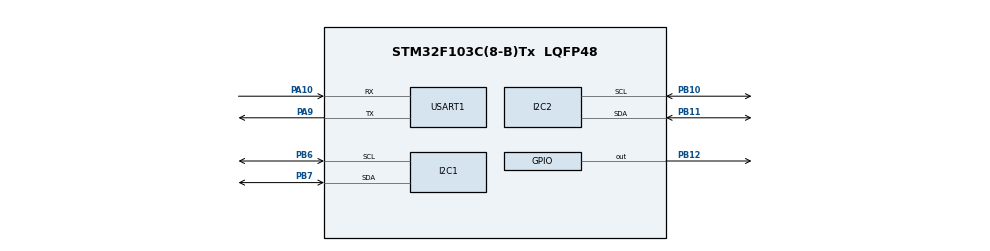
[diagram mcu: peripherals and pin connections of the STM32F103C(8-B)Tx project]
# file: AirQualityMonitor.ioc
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Mcu.Family=STM32F1
Mcu.Name=STM32F103C(8-B)Tx
Mcu.Package=LQFP48
NVIC.PriorityGroup=NVIC_PRIORITYGROUP_4
PA10.Mode=Asynchronous
PA10.Signal=USART1_RX
PA13.Mode=Serial_Wire
PA13.Signal=SYS_JTMS-SWDIO
PA14.Mode=Serial_Wire
PA14.Signal=SYS_JTCK-SWCLK
PA9.Mode=Asynchronous
PA9.Signal=USART1_TX
PB10.Mode=I2C
PB10.Signal=I2C2_SCL
PB11.Mode=I2C
PB11.Signal=I2C2_SDA
PB12.Signal=GPIO_Output
PB6.Mode=I2C
PB6.Signal=I2C1_SCL
PB7.Mode=I2C
PB7.Signal=I2C1_SDA
ProjectManager.HeapSize=0x200
ProjectManager.StackSize=0x400
ProjectManager.TargetToolchain=Makefile
RCC.APB1Freq_Value=8000000
RCC.APB2Freq_Value=8000000
USART1.Parity=PARITY_NONE
USART1.VirtualMode=VM_ASYNC
board=custom

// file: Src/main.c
/* USER CODE BEGIN Header */
/**
  ******************************************************************************
  * @file           : main.c
  * @brief          : Main program body
  ******************************************************************************
  * @attention
  *
  * <h2><center>&copy; Copyright (c) 2019 STMicroelectronics.
  * All rights reserved.</center></h2>
  *
  * This software component is licensed by ST under BSD 3-Clause license,
  * the "License"; You may not use this file except in compliance with the
  * License. You may obtain a copy of the License at:
  *                        opensource.org/licenses/BSD-3-Clause
  *
  ******************************************************************************
  */
/* USER CODE END Header */

#include "main.h"
#include "i2c.h"
#include "usart.h"
#include "gpio.h"

/* USER CODE BEGIN Includes */
#include "bme280.h"
#include "bme280_defs.h"
#include "CCS811.h"
#include "CCS811_defs.h"
/* USER CODE END Includes */

/* USER CODE BEGIN PV */
uint8_t BME280_TestBuffer[10] = {0};
uint8_t CCS811_TestBuffer[10] = {0};

/* USER CODE END PV */

void SystemClock_Config(void);
/* USER CODE BEGIN PFP */
int8_t user_bme280_read(uint8_t id, uint8_t reg_addr, uint8_t *data, uint16_t len);
int8_t user_ccs811_read(uint8_t id, uint8_t reg_addr, uint8_t *data, uint16_t len);

int8_t user_bme280_write(uint8_t id, uint8_t reg_addr, uint8_t *data, uint16_t len);
int8_t user_ccs811_write(uint8_t id, uint8_t reg_addr, uint8_t *data, uint16_t len);

int8_t BME280_get_data(struct bme280_dev *dev, struct bme280_data *data);
void prepare_uart_packet(struct ccs811_data *ccs811_samples, struct bme280_data *bme280_samples, uint8_t dataElements, uint8_t *packet);
void user_delay_ms(uint32_t period);
void uint32_To_Buffer(uint32_t data, uint8_t *buffer, uint8_t index);

/* USER CODE END PFP */

int main(void)
{
  /* USER CODE BEGIN 1 */
  uint8_t I2C_REG = 0xD0;

  int bme_data[10] = {0};
  /* USER CODE END 1 */

  /* MCU Configuration--------------------------------------------------------*/

  /* Reset of all peripherals, Initializes the Flash interface and the Systick. */
  HAL_Init();

  /* Configure the system clock */
  SystemClock_Config();

  /* Initialize all configured peripherals */
  MX_GPIO_Init();
  MX_I2C1_Init();
  MX_USART1_UART_Init();
  MX_I2C2_Init();
  /* USER CODE BEGIN 2 */
  uint8_t bmePacket[PAKCET_SIZE_BYTES] = {0};

  struct bme280_dev bme280;
  struct bme280_data bme280Samples;

  volatile int8_t rslt = BME280_OK;

  bme280.dev_id = BME280_I2C_ADDR_PRIM;
  bme280.intf = BME280_I2C_INTF;
  bme280.write = user_bme280_write;
  bme280.read = user_bme280_read;
  bme280.delay_ms = user_delay_ms;

  rslt = bme280_init(&bme280);
  if (rslt != BME280_OK)
  {
    HAL_GPIO_WritePin(GPIOB, GPIO_PIN_12, 0);
    while (1)
    {

      /* code */
    }
  }

  rslt = CCS811_OK;
  struct ccs811_dev ccs811;
  struct ccs811_data ccs811Samples;
  ccs811.dev_id = CCS811_ADDR;
  ccs811.read = user_ccs811_read;
  ccs811.write = user_ccs811_write;
  ccs811.delay_ms = user_delay_ms;
  ccs811.settings.mode = CSS811_MODE1;

  rslt = ccs811_init(&ccs811);

  if (rslt != CCS811_OK)
  {
    HAL_GPIO_WritePin(GPIOB, GPIO_PIN_12, 0);
    while (1)
    {

      /* code */
    }
  }

  uint32_t start, end, diff = 0;
  float ms = 0.0f;

  /* USER CODE END 2 */

  /* Infinite loop */
  /* USER CODE BEGIN WHILE */

  HAL_Delay(100);
  while (1)
  {
    /* USER CODE END WHILE */

    /* USER CODE BEGIN 3 */
    start = SysTick->VAL;

    // HAL_GPIO_WritePin(GPIOB, GPIO_PIN_12, 1);
    BME280_get_data(&bme280, &bme280Samples);
    ccs811_get_data(&ccs811, &ccs811Samples);

    //Todo yra problema su i2c??? kazkodel nedraugauja vienas su kitu, quick fix butu perkeist kanala i2c jei noresim naudoti LCD monitoriuka
    prepare_uart_packet(&ccs811Samples, &bme280Samples, PACKET_ELEMENTS_UINT32, &bmePacket);

    HAL_UART_Transmit(&huart1, bmePacket, sizeof(bmePacket), 100);

    HAL_Delay(1000);

    end = SysTick->VAL;
    diff = end - start;
    ms = (float)((diff / (SystemCoreClock * 1.0f)) * 1000);
  }
  /* USER CODE END 3 */
}

void SystemClock_Config(void)
{
  RCC_OscInitTypeDef RCC_OscInitStruct = {0};
  RCC_ClkInitTypeDef RCC_ClkInitStruct = {0};

  /** Initializes the CPU, AHB and APB busses clocks
  */
  RCC_OscInitStruct.OscillatorType = RCC_OSCILLATORTYPE_HSI;
  RCC_OscInitStruct.HSIState = RCC_HSI_ON;
  RCC_OscInitStruct.HSICalibrationValue = RCC_HSICALIBRATION_DEFAULT;
  RCC_OscInitStruct.PLL.PLLState = RCC_PLL_NONE;
  if (HAL_RCC_OscConfig(&RCC_OscInitStruct) != HAL_OK)
  {
    Error_Handler();
  }
  /** Initializes the CPU, AHB and APB busses clocks
  */
  RCC_ClkInitStruct.ClockType = RCC_CLOCKTYPE_HCLK | RCC_CLOCKTYPE_SYSCLK | RCC_CLOCKTYPE_PCLK1 | RCC_CLOCKTYPE_PCLK2;
  RCC_ClkInitStruct.SYSCLKSource = RCC_SYSCLKSOURCE_HSI;
  RCC_ClkInitStruct.AHBCLKDivider = RCC_SYSCLK_DIV1;
  RCC_ClkInitStruct.APB1CLKDivider = RCC_HCLK_DIV1;
  RCC_ClkInitStruct.APB2CLKDivider = RCC_HCLK_DIV1;

  if (HAL_RCC_ClockConfig(&RCC_ClkInitStruct, FLASH_LATENCY_0) != HAL_OK)
  {
    Error_Handler();
  }
}

/* USER CODE BEGIN 4 */

//Todo makefile optimizes my shit :(
//Todo is this decoupling good option?

int8_t user_bme280_read(uint8_t id, uint8_t reg_addr, uint8_t *data, uint16_t len)
{

  HAL_I2C_Mem_Read(&hi2c2, (uint16_t)(id << 1), reg_addr, 1, (uint8_t *)data, len, 100);
  return 0;
}
int8_t user_bme280_write(uint8_t id, uint8_t reg_addr, uint8_t *data, uint16_t len)
{
  // int8_t *buf;

  // buf = malloc(len + 1);
  // buf[0] = reg_addr;
  // memcpy(buf + 1, data, len);
  if (HAL_I2C_Mem_Write(&hi2c2, (uint16_t)(id << 1), reg_addr, 1, (uint8_t *)data, len, 1000) != HAL_OK)
    return BME280_E_COMM_FAIL;
  // free(buf);
  return BME280_OK;
}

int8_t user_ccs811_read(uint8_t id, uint8_t reg_addr, uint8_t *data, uint16_t len)
{

  HAL_I2C_Mem_Read(&hi2c1, (uint16_t)(id << 1), reg_addr, 1, (uint8_t *)data, len, 100);
  return 0;
}
int8_t user_ccs811_write(uint8_t id, uint8_t reg_addr, uint8_t *data, uint16_t len)
{
  // int8_t *buf;

  // buf = malloc(len + 1);
  // buf[0] = reg_addr;
  // memcpy(buf + 1, data, len);

  if (HAL_I2C_Mem_Write(&hi2c1, (uint16_t *)(id << 1), reg_addr, 1, (uint8_t *)&data, len, 1000) != HAL_OK)
    return CCS811_COMM_FAIL;
  // free(buf);
  return CCS811_OK;
}

void user_delay_ms(uint32_t period)
{
  HAL_Delay(period);
}

int8_t BME280_get_data(struct bme280_dev *dev, struct bme280_data *data)
{
  volatile int8_t rslt;
  uint8_t settings_sel;
  struct bme280_data comp_data;

  float temp, press, hum;

  /* Recommended mode of operation: Indoor navigation */
  dev->settings.osr_h = BME280_OVERSAMPLING_1X;
  dev->settings.osr_p = BME280_OVERSAMPLING_1X;
  dev->settings.osr_t = BME280_OVERSAMPLING_1X;
  dev->settings.filter = BME280_FILTER_COEFF_OFF;

  settings_sel = BME280_OSR_PRESS_SEL | BME280_OSR_TEMP_SEL | BME280_OSR_HUM_SEL | BME280_FILTER_SEL;

  rslt = bme280_set_sensor_settings(settings_sel, dev);
  if (rslt != BME280_OK)
  {
    // fprintf(stderr, "Failed to set sensor settings (code %+d).", rslt);
    // return rslt;
  }

  /* Get  sensor data */

  rslt = bme280_set_sensor_mode(BME280_FORCED_MODE, dev);
  if (rslt != BME280_OK)
  {
    // fprintf(stderr, "Failed to set sensor mode (code %+d).", rslt);
  }
  /* Wait for the measurement to complete and print data @25Hz */
  dev->delay_ms(1);
  rslt = bme280_get_sensor_data(BME280_ALL, &comp_data, dev);
  if (rslt != BME280_OK)
  {
    // fprintf(stderr, "Failed to get sensor data (code %+d).", rslt);
  }
  temp = comp_data.temperature; // 0.01f * comp_data.temperature;
  press = comp_data.pressure;   // 0.0001f * comp_data.pressure;
  hum = comp_data.humidity;     // 1.0f / 1024.0f * comp_data.humidity;

  data->temperature = comp_data.temperature;
  data->pressure = comp_data.pressure;
  data->humidity = comp_data.humidity;

  return rslt;
}

void prepare_uart_packet(struct ccs811_data *ccs811_samples, struct bme280_data *bme280_samples, uint8_t dataElements, uint8_t *packet)
{
  static uint32_t packetIndex = 0;
  packetIndex++;
  packet[0] = 0xAA;
  uint32_To_Buffer(bme280_samples->temperature, packet, 1);
  uint32_To_Buffer(bme280_samples->humidity, packet, 5);
  uint32_To_Buffer(bme280_samples->pressure, packet, 9);
  uint32_To_Buffer(ccs811_samples->eCO2, packet, 13);
  uint32_To_Buffer(ccs811_samples->VOCS, packet, 17);
  uint32_To_Buffer(packetIndex, packet, 21);
  packet[25] = 0xFF;
}

void uint32_To_Buffer(uint32_t data, uint8_t *buffer, uint8_t index)
{
  buffer[index + 0] = data >> 24;
  buffer[index + 1] = data >> 16;
  buffer[index + 2] = data >> 8;
  buffer[index + 3] = data;
}

/* USER CODE END 4 */

void Error_Handler(void)
{
}

/************************ (C) COPYRIGHT STMicroelectronics *****END OF FILE****/
